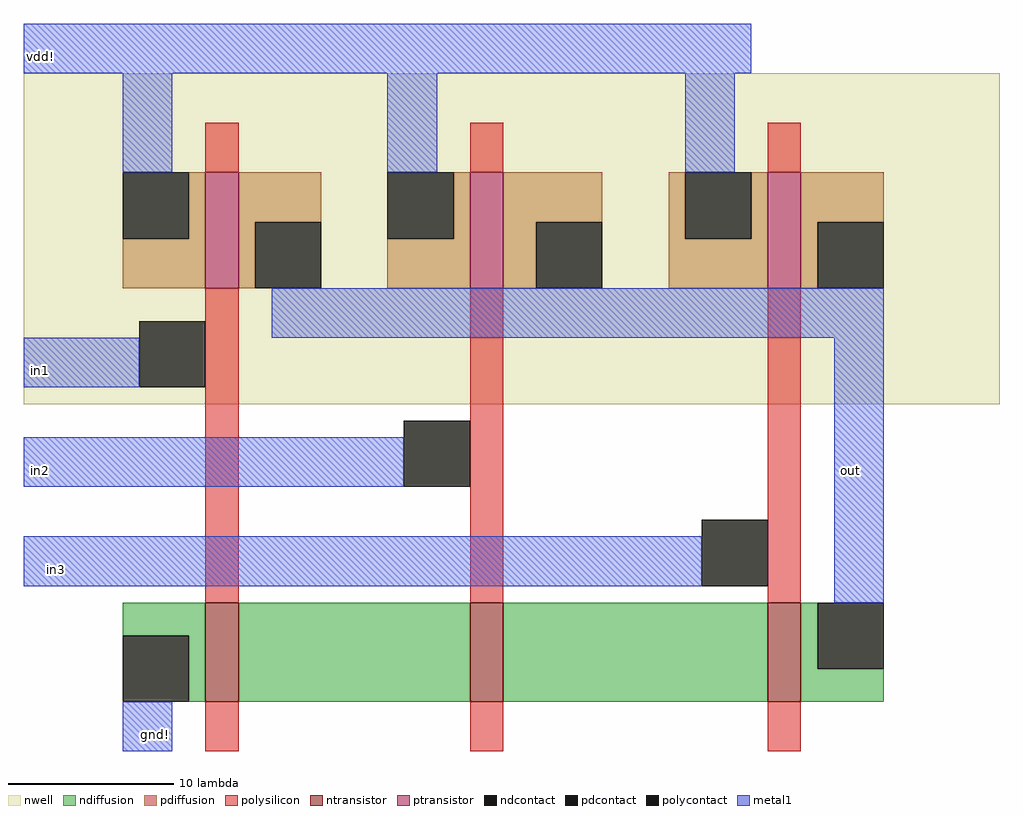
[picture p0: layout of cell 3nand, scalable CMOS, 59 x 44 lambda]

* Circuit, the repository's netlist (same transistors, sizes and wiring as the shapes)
* SPICE3 file created from 3nand.ext - technology: scmos
.include TSMC_180nm.txt
.option scale=0.09u

M1000 a_4_n12# in2 a_n12_n12# Gnd CMOSN w=6 l=2
+  ad=96 pd=44 as=84 ps=40
M1001 a_n12_n12# in1 gnd Gnd CMOSN w=6 l=2
+  ad=0 pd=0 as=30 ps=22
M1002 out in3 vdd w_n25_6# CMOSP w=7 l=2
+  ad=112 pd=74 as=112 ps=74
M1003 out in3 a_4_n12# Gnd CMOSN w=6 l=2
+  ad=30 pd=22 as=0 ps=0
M1004 out in2 vdd w_n25_6# CMOSP w=7 l=2
+  ad=0 pd=0 as=0 ps=0
M1005 out in1 vdd w_n25_6# CMOSP w=7 l=2
+  ad=0 pd=0 as=0 ps=0


Vdd vdd gnd 2

V_in_a in1 gnd DC 2
V_in_b in2 gnd DC 2
V_in_c in3 gnd DC 2
.tran 1u 10000u




.control
run
set color0 = rgb:f/f/e
set color1 = black
plot v(out) v(in1)+3 v(in2)+5 v(in3)+7
.endc
.end

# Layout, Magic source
magic
tech scmos
<< nwell >>
rect -25 6 34 26
<< ntransistor >>
rect -14 -12 -12 -6
rect 2 -12 4 -6
rect 20 -12 22 -6
<< ptransistor >>
rect -14 13 -12 20
rect 2 13 4 20
rect 20 13 22 20
<< ndiffusion >>
rect -19 -8 -14 -6
rect -15 -12 -14 -8
rect -12 -12 2 -6
rect 4 -12 20 -6
rect 22 -10 23 -6
rect 22 -12 27 -10
<< pdiffusion >>
rect -15 16 -14 20
rect -19 13 -14 16
rect -12 17 -7 20
rect -12 13 -11 17
rect 1 16 2 20
rect -3 13 2 16
rect 4 17 10 20
rect 4 13 6 17
rect 14 16 15 20
rect 19 16 20 20
rect 14 13 20 16
rect 22 17 27 20
rect 22 13 23 17
<< ndcontact >>
rect -19 -12 -15 -8
rect 23 -10 27 -6
<< pdcontact >>
rect -19 16 -15 20
rect -11 13 -7 17
rect -3 16 1 20
rect 6 13 10 17
rect 15 16 19 20
rect 23 13 27 17
<< polysilicon >>
rect -14 20 -12 23
rect 2 20 4 23
rect 20 20 22 23
rect -14 -6 -12 13
rect 2 -6 4 13
rect 20 -6 22 13
rect -14 -15 -12 -12
rect 2 -15 4 -12
rect 20 -15 22 -12
<< polycontact >>
rect -18 7 -14 11
rect -2 1 2 5
rect 16 -5 20 -1
<< metal1 >>
rect -25 26 19 29
rect -19 20 -16 26
rect -3 20 0 26
rect 15 20 18 26
rect -25 7 -18 10
rect -10 10 27 13
rect -25 1 -2 4
rect -25 -5 16 -2
rect 24 -6 27 10
rect -19 -15 -16 -12
<< labels >>
rlabel metal1 -24 27 -24 27 4 vdd!
rlabel metal1 -17 -14 -17 -14 1 gnd!
rlabel metal1 25 2 25 2 1 out
rlabel metal1 -24 8 -24 8 3 in1
rlabel metal1 -24 2 -24 2 3 in2
rlabel metal1 -23 -4 -23 -4 3 in3
<< end >>
